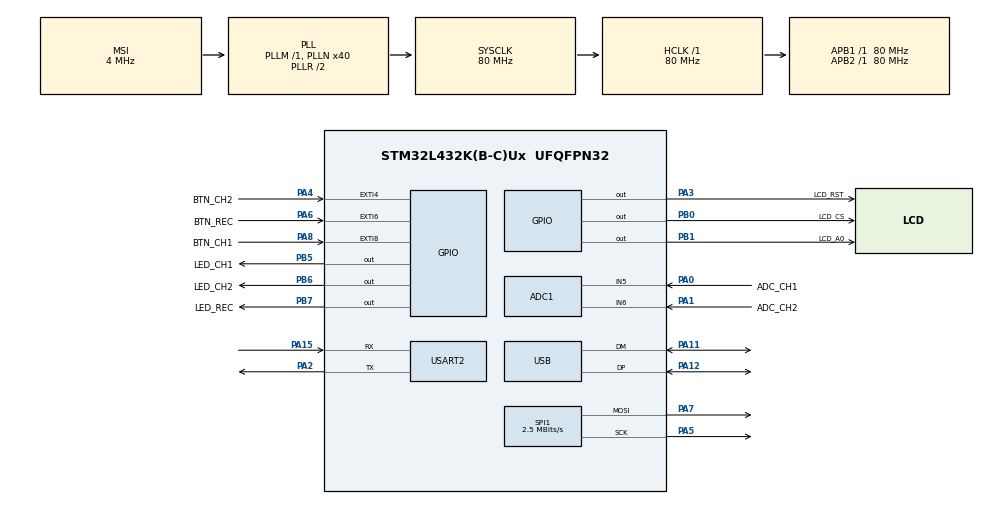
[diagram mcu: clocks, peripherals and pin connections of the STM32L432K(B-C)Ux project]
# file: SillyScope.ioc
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ADC1.Channel-0\#ChannelRegularConversion=ADC_CHANNEL_5
ADC1.Channel-1\#ChannelRegularConversion=ADC_CHANNEL_5
ADC1.DMAContinuousRequests=ENABLE
ADC1.ExternalTrigConv=ADC_EXTERNALTRIG_T2_TRGO
ADC1.NbrOfConversion=2
ADC1.NbrOfConversionFlag=1
ADC1.OffsetNumber-0\#ChannelRegularConversion=ADC_OFFSET_NONE
ADC1.OffsetNumber-1\#ChannelRegularConversion=ADC_OFFSET_NONE
ADC1.Overrun=ADC_OVR_DATA_OVERWRITTEN
ADC1.Rank-0\#ChannelRegularConversion=1
ADC1.Rank-1\#ChannelRegularConversion=2
ADC1.SamplingTime-0\#ChannelRegularConversion=ADC_SAMPLETIME_24CYCLES_5
ADC1.SamplingTime-1\#ChannelRegularConversion=ADC_SAMPLETIME_24CYCLES_5
ADC1.master=1
Dma.ADC1.0.Direction=DMA_PERIPH_TO_MEMORY
Dma.ADC1.0.Instance=DMA1_Channel1
Dma.ADC1.0.MemDataAlignment=DMA_MDATAALIGN_HALFWORD
Dma.ADC1.0.MemInc=DMA_MINC_ENABLE
Dma.ADC1.0.Mode=DMA_CIRCULAR
Dma.ADC1.0.PeriphDataAlignment=DMA_PDATAALIGN_HALFWORD
Dma.ADC1.0.PeriphInc=DMA_PINC_DISABLE
Dma.ADC1.0.Priority=DMA_PRIORITY_HIGH
Dma.Request0=ADC1
Mcu.Family=STM32L4
Mcu.Name=STM32L432K(B-C)Ux
Mcu.Package=UFQFPN32
NVIC.DMA1_Channel1_IRQn=true\:0\:0\:false\:false\:true\:false\:true\:true
NVIC.PriorityGroup=NVIC_PRIORITYGROUP_4
NVIC.USB_IRQn=true\:0\:0\:false\:false\:true\:false\:true\:true
PA0.GPIO_Label=ADC_CH1
PA0.Signal=ADCx_IN5
PA1.GPIO_Label=ADC_CH2
PA1.Signal=ADCx_IN6
PA11.Mode=Device
PA11.Signal=USB_DM
PA12.Mode=Device
PA12.Signal=USB_DP
PA13\ (JTMS-SWDIO).Mode=Serial_Wire
PA13\ (JTMS-SWDIO).Signal=SYS_JTMS-SWDIO
PA14\ (JTCK-SWCLK).Mode=Serial_Wire
PA14\ (JTCK-SWCLK).Signal=SYS_JTCK-SWCLK
PA15\ (JTDI).Mode=Asynchronous
PA15\ (JTDI).Signal=USART2_RX
PA2.Mode=Asynchronous
PA2.Signal=USART2_TX
PA3.GPIO_Label=LCD_RST
PA3.PinState=GPIO_PIN_SET
PA3.Signal=GPIO_Output
PA4.GPIO_Label=BTN_CH2
PA4.GPIO_PuPd=GPIO_PULLUP
PA4.Signal=GPXTI4
PA5.Mode=TX_Only_Simplex_Unidirect_Master
PA5.Signal=SPI1_SCK
PA6.GPIO_Label=BTN_REC
PA6.GPIO_PuPd=GPIO_PULLUP
PA6.Signal=GPXTI6
PA7.Mode=TX_Only_Simplex_Unidirect_Master
PA7.Signal=SPI1_MOSI
PA8.GPIO_Label=BTN_CH1
PA8.GPIO_PuPd=GPIO_PULLUP
PA8.Signal=GPXTI8
PB0.GPIO_Label=LCD_CS
PB0.GPIO_Speed=GPIO_SPEED_FREQ_LOW
PB0.PinState=GPIO_PIN_SET
PB0.Signal=GPIO_Output
PB1.GPIO_Label=LCD_A0
PB1.Signal=GPIO_Output
PB5.GPIO_Label=LED_CH1
PB5.Signal=GPIO_Output
PB6.GPIO_Label=LED_CH2
PB6.Signal=GPIO_Output
PB7.GPIO_Label=LED_REC
PB7.Signal=GPIO_Output
ProjectManager.HeapSize=0x200
ProjectManager.StackSize=0x400
ProjectManager.TargetToolchain=STM32CubeIDE
RCC.ADCFreq_Value=48000000
RCC.AHBFreq_Value=80000000
RCC.APB1Freq_Value=80000000
RCC.APB1TimFreq_Value=80000000
RCC.APB2Freq_Value=80000000
RCC.APB2TimFreq_Value=80000000
RCC.CortexFreq_Value=80000000
RCC.HCLKFreq_Value=80000000
RCC.HSE_VALUE=8000000
RCC.HSI48_VALUE=48000000
RCC.HSI_VALUE=16000000
RCC.LSE_VALUE=32768
RCC.MSI_VALUE=4000000
RCC.PLLN=40
RCC.PLLSAI1N=24
RCC.SYSCLKFreq_VALUE=80000000
RCC.SYSCLKSource=RCC_SYSCLKSOURCE_PLLCLK
RCC.USBFreq_Value=48000000
RCC.VCOOutputFreq_Value=160000000
SH.ADCx_IN5.0=ADC1_IN5,IN5-Single-Ended
SH.ADCx_IN6.0=ADC1_IN6,IN6-Single-Ended
SPI1.BaudRatePrescaler=SPI_BAUDRATEPRESCALER_32
SPI1.CLKPhase=SPI_PHASE_2EDGE
SPI1.CLKPolarity=SPI_POLARITY_HIGH
SPI1.CalculateBaudRate=2.5 MBits/s
SPI1.DataSize=SPI_DATASIZE_8BIT
SPI1.Direction=SPI_DIRECTION_2LINES
SPI1.Mode=SPI_MODE_MASTER
SPI1.VirtualType=VM_MASTER
TIM2.Period=159
TIM2.TIM_MasterOutputTrigger=TIM_TRGO_UPDATE
USART2.VirtualMode-Asynchronous=VM_ASYNC
USB_DEVICE.CLASS_NAME_FS=CDC
USB_DEVICE.VirtualMode=Cdc
USB_DEVICE.VirtualModeFS=Cdc_FS
VP_TIM2_VS_ClockSourceINT.Mode=Internal
VP_USB_DEVICE_VS_USB_DEVICE_CDC_FS.Mode=CDC_FS
board=custom

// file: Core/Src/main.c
/* USER CODE BEGIN Header */
/**
  ******************************************************************************
  * @file           : main.c
  * @brief          : Main program body
  ******************************************************************************
  * @attention
  *
  * Copyright (c) 2026 STMicroelectronics.
  * All rights reserved.
  *
  * This software is licensed under terms that can be found in the LICENSE file
  * in the root directory of this software component.
  * If no LICENSE file comes with this software, it is provided AS-IS.
  *
  ******************************************************************************
  */
/* USER CODE END Header */
#include "main.h"
#include "usb_device.h"

/* USER CODE BEGIN Includes */
#include <stdint.h>
#include <stdbool.h>

#include "sillyscope_app.h"

#include "channel_mgmt.h"
#include "channel_data.h"

/* USER CODE END Includes */

ADC_HandleTypeDef hadc1;
DMA_HandleTypeDef hdma_adc1;

SPI_HandleTypeDef hspi1;

TIM_HandleTypeDef htim2;

UART_HandleTypeDef huart2;

/* USER CODE BEGIN PV */
CRC_HandleTypeDef hcrc;
/* USER CODE END PV */

void SystemClock_Config(void);
void PeriphCommonClock_Config(void);
static void MX_GPIO_Init(void);
static void MX_DMA_Init(void);
static void MX_ADC1_Init(void);
static void MX_SPI1_Init(void);
static void MX_TIM2_Init(void);
static void MX_USART2_UART_Init(void);

int main(void)
{

  /* USER CODE BEGIN 1 */

  ch_data_adc = &hadc1;
  ch_data_crc = &hcrc;
  ch_data_uart = &huart2;
  disp_spi = &hspi1;

  /* USER CODE END 1 */

  /* MCU Configuration--------------------------------------------------------*/

  /* Reset of all peripherals, Initializes the Flash interface and the Systick. */
  HAL_Init();

  /* Configure the system clock */
  SystemClock_Config();

  /* Configure the peripherals common clocks */
  PeriphCommonClock_Config();

  /* Initialize all configured peripherals */
  MX_GPIO_Init();
  MX_DMA_Init();
  MX_ADC1_Init();
  MX_SPI1_Init();
  MX_USB_DEVICE_Init();
  MX_TIM2_Init();
  MX_USART2_UART_Init();

  /* USER CODE BEGIN 2 */
  __HAL_RCC_CRC_CLK_ENABLE();

  hcrc.Instance = CRC;
  hcrc.Init.DefaultPolynomialUse = DEFAULT_POLYNOMIAL_ENABLE;
  hcrc.Init.DefaultInitValueUse = DEFAULT_INIT_VALUE_ENABLE;
  hcrc.Init.InputDataInversionMode = CRC_INPUTDATA_INVERSION_NONE;
  hcrc.Init.OutputDataInversionMode = CRC_OUTPUTDATA_INVERSION_DISABLE;
  hcrc.InputDataFormat = CRC_INPUTDATA_FORMAT_BYTES;

  if (HAL_CRC_Init(&hcrc) != HAL_OK)
  {
    Error_Handler();
  }
  /* USER CODE END 2 */

  /* Infinite loop */
  /* USER CODE BEGIN WHILE */

  sillyscope_app();

  //never reach
  while (1)
  {
    /* USER CODE END WHILE */

  }
}

void SystemClock_Config(void)
{
  RCC_OscInitTypeDef RCC_OscInitStruct = {0};
  RCC_ClkInitTypeDef RCC_ClkInitStruct = {0};

  /** Configure the main internal regulator output voltage
  */
  if (HAL_PWREx_ControlVoltageScaling(PWR_REGULATOR_VOLTAGE_SCALE1) != HAL_OK)
  {
    Error_Handler();
  }

  /** Initializes the RCC Oscillators according to the specified parameters
  * in the RCC_OscInitTypeDef structure.
  */
  RCC_OscInitStruct.OscillatorType = RCC_OSCILLATORTYPE_MSI;
  RCC_OscInitStruct.MSIState = RCC_MSI_ON;
  RCC_OscInitStruct.MSICalibrationValue = 0;
  RCC_OscInitStruct.MSIClockRange = RCC_MSIRANGE_6;
  RCC_OscInitStruct.PLL.PLLState = RCC_PLL_ON;
  RCC_OscInitStruct.PLL.PLLSource = RCC_PLLSOURCE_MSI;
  RCC_OscInitStruct.PLL.PLLM = 1;
  RCC_OscInitStruct.PLL.PLLN = 40;
  RCC_OscInitStruct.PLL.PLLP = RCC_PLLP_DIV7;
  RCC_OscInitStruct.PLL.PLLQ = RCC_PLLQ_DIV2;
  RCC_OscInitStruct.PLL.PLLR = RCC_PLLR_DIV2;
  if (HAL_RCC_OscConfig(&RCC_OscInitStruct) != HAL_OK)
  {
    Error_Handler();
  }

  /** Initializes the CPU, AHB and APB buses clocks
  */
  RCC_ClkInitStruct.ClockType = RCC_CLOCKTYPE_HCLK|RCC_CLOCKTYPE_SYSCLK
                              |RCC_CLOCKTYPE_PCLK1|RCC_CLOCKTYPE_PCLK2;
  RCC_ClkInitStruct.SYSCLKSource = RCC_SYSCLKSOURCE_PLLCLK;
  RCC_ClkInitStruct.AHBCLKDivider = RCC_SYSCLK_DIV1;
  RCC_ClkInitStruct.APB1CLKDivider = RCC_HCLK_DIV1;
  RCC_ClkInitStruct.APB2CLKDivider = RCC_HCLK_DIV1;

  if (HAL_RCC_ClockConfig(&RCC_ClkInitStruct, FLASH_LATENCY_4) != HAL_OK)
  {
    Error_Handler();
  }
}

void PeriphCommonClock_Config(void)
{
  RCC_PeriphCLKInitTypeDef PeriphClkInit = {0};

  /** Initializes the peripherals clock
  */
  PeriphClkInit.PeriphClockSelection = RCC_PERIPHCLK_USB|RCC_PERIPHCLK_ADC;
  PeriphClkInit.AdcClockSelection = RCC_ADCCLKSOURCE_PLLSAI1;
  PeriphClkInit.UsbClockSelection = RCC_USBCLKSOURCE_PLLSAI1;
  PeriphClkInit.PLLSAI1.PLLSAI1Source = RCC_PLLSOURCE_MSI;
  PeriphClkInit.PLLSAI1.PLLSAI1M = 1;
  PeriphClkInit.PLLSAI1.PLLSAI1N = 24;
  PeriphClkInit.PLLSAI1.PLLSAI1P = RCC_PLLP_DIV7;
  PeriphClkInit.PLLSAI1.PLLSAI1Q = RCC_PLLQ_DIV2;
  PeriphClkInit.PLLSAI1.PLLSAI1R = RCC_PLLR_DIV2;
  PeriphClkInit.PLLSAI1.PLLSAI1ClockOut = RCC_PLLSAI1_48M2CLK|RCC_PLLSAI1_ADC1CLK;
  if (HAL_RCCEx_PeriphCLKConfig(&PeriphClkInit) != HAL_OK)
  {
    Error_Handler();
  }
}

static void MX_ADC1_Init(void)
{

  ADC_ChannelConfTypeDef sConfig = {0};

  /** Common config
  */
  hadc1.Instance = ADC1;
  hadc1.Init.ClockPrescaler = ADC_CLOCK_ASYNC_DIV1;
  hadc1.Init.Resolution = ADC_RESOLUTION_12B;
  hadc1.Init.DataAlign = ADC_DATAALIGN_RIGHT;
  hadc1.Init.ScanConvMode = ADC_SCAN_ENABLE;
  hadc1.Init.EOCSelection = ADC_EOC_SINGLE_CONV;
  hadc1.Init.LowPowerAutoWait = DISABLE;
  hadc1.Init.ContinuousConvMode = ENABLE;
  hadc1.Init.NbrOfConversion = 2;
  hadc1.Init.DiscontinuousConvMode = DISABLE;
  hadc1.Init.ExternalTrigConv = ADC_SOFTWARE_START;
  hadc1.Init.ExternalTrigConvEdge = ADC_EXTERNALTRIGCONVEDGE_RISING;
  hadc1.Init.DMAContinuousRequests = ENABLE;
  hadc1.Init.Overrun = ADC_OVR_DATA_OVERWRITTEN;
  hadc1.Init.OversamplingMode = DISABLE;
  if (HAL_ADC_Init(&hadc1) != HAL_OK)
  {
    Error_Handler();
  }

  /** Configure Regular Channel
  */
  sConfig.Channel = ADC_CHANNEL_5;
  sConfig.Rank = ADC_REGULAR_RANK_1;
  sConfig.SamplingTime = ADC_SAMPLETIME_24CYCLES_5;
  sConfig.SingleDiff = ADC_SINGLE_ENDED;
  sConfig.OffsetNumber = ADC_OFFSET_NONE;
  sConfig.Offset = 0;
  if (HAL_ADC_ConfigChannel(&hadc1, &sConfig) != HAL_OK)
  {
    Error_Handler();
  }

  /** Configure Regular Channel
  */
  sConfig.Rank = ADC_REGULAR_RANK_2;
  if (HAL_ADC_ConfigChannel(&hadc1, &sConfig) != HAL_OK)
  {
    Error_Handler();
  }

}

static void MX_SPI1_Init(void)
{

  /* SPI1 parameter configuration*/
  hspi1.Instance = SPI1;
  hspi1.Init.Mode = SPI_MODE_MASTER;
  hspi1.Init.Direction = SPI_DIRECTION_2LINES;
  hspi1.Init.DataSize = SPI_DATASIZE_8BIT;
  hspi1.Init.CLKPolarity = SPI_POLARITY_HIGH;
  hspi1.Init.CLKPhase = SPI_PHASE_2EDGE;
  hspi1.Init.NSS = SPI_NSS_SOFT;
  hspi1.Init.BaudRatePrescaler = SPI_BAUDRATEPRESCALER_32;
  hspi1.Init.FirstBit = SPI_FIRSTBIT_MSB;
  hspi1.Init.TIMode = SPI_TIMODE_DISABLE;
  hspi1.Init.CRCCalculation = SPI_CRCCALCULATION_DISABLE;
  hspi1.Init.CRCPolynomial = 7;
  hspi1.Init.CRCLength = SPI_CRC_LENGTH_DATASIZE;
  hspi1.Init.NSSPMode = SPI_NSS_PULSE_DISABLE;
  if (HAL_SPI_Init(&hspi1) != HAL_OK)
  {
    Error_Handler();
  }

}

static void MX_TIM2_Init(void)
{

  TIM_ClockConfigTypeDef sClockSourceConfig = {0};
  TIM_MasterConfigTypeDef sMasterConfig = {0};

  htim2.Instance = TIM2;
  htim2.Init.Prescaler = 0;
  htim2.Init.CounterMode = TIM_COUNTERMODE_UP;
  htim2.Init.Period = 9599;
  htim2.Init.ClockDivision = TIM_CLOCKDIVISION_DIV1;
  htim2.Init.AutoReloadPreload = TIM_AUTORELOAD_PRELOAD_DISABLE;
  if (HAL_TIM_Base_Init(&htim2) != HAL_OK)
  {
    Error_Handler();
  }
  sClockSourceConfig.ClockSource = TIM_CLOCKSOURCE_INTERNAL;
  if (HAL_TIM_ConfigClockSource(&htim2, &sClockSourceConfig) != HAL_OK)
  {
    Error_Handler();
  }
  sMasterConfig.MasterOutputTrigger = TIM_TRGO_UPDATE;
  sMasterConfig.MasterSlaveMode = TIM_MASTERSLAVEMODE_DISABLE;
  if (HAL_TIMEx_MasterConfigSynchronization(&htim2, &sMasterConfig) != HAL_OK)
  {
    Error_Handler();
  }

}

static void MX_USART2_UART_Init(void)
{

  huart2.Instance = USART2;
  huart2.Init.BaudRate = 115200;
  huart2.Init.WordLength = UART_WORDLENGTH_8B;
  huart2.Init.StopBits = UART_STOPBITS_1;
  huart2.Init.Parity = UART_PARITY_NONE;
  huart2.Init.Mode = UART_MODE_TX_RX;
  huart2.Init.HwFlowCtl = UART_HWCONTROL_NONE;
  huart2.Init.OverSampling = UART_OVERSAMPLING_16;
  huart2.Init.OneBitSampling = UART_ONE_BIT_SAMPLE_DISABLE;
  huart2.AdvancedInit.AdvFeatureInit = UART_ADVFEATURE_NO_INIT;
  if (HAL_UART_Init(&huart2) != HAL_OK)
  {
    Error_Handler();
  }

}

static void MX_DMA_Init(void)
{

  /* DMA controller clock enable */
  __HAL_RCC_DMA1_CLK_ENABLE();

  /* DMA interrupt init */
  /* DMA1_Channel1_IRQn interrupt configuration */
  HAL_NVIC_SetPriority(DMA1_Channel1_IRQn, 0, 0);
  HAL_NVIC_EnableIRQ(DMA1_Channel1_IRQn);

}

static void MX_GPIO_Init(void)
{
  GPIO_InitTypeDef GPIO_InitStruct = {0};

  /* GPIO Ports Clock Enable */
  __HAL_RCC_GPIOA_CLK_ENABLE();
  __HAL_RCC_GPIOB_CLK_ENABLE();

  /*Configure GPIO pin Output Level */
  HAL_GPIO_WritePin(LCD_RST_GPIO_Port, LCD_RST_Pin, GPIO_PIN_SET);

  /*Configure GPIO pin Output Level */
  HAL_GPIO_WritePin(LCD_CS_GPIO_Port, LCD_CS_Pin, GPIO_PIN_SET);

  /*Configure GPIO pin Output Level */
  HAL_GPIO_WritePin(GPIOB, LCD_A0_Pin|LED_CH1_Pin|LED_CH2_Pin|LED_REC_Pin, GPIO_PIN_RESET);

  /*Configure GPIO pin : LCD_RST_Pin */
  GPIO_InitStruct.Pin = LCD_RST_Pin;
  GPIO_InitStruct.Mode = GPIO_MODE_OUTPUT_PP;
  GPIO_InitStruct.Pull = GPIO_NOPULL;
  GPIO_InitStruct.Speed = GPIO_SPEED_FREQ_LOW;
  HAL_GPIO_Init(LCD_RST_GPIO_Port, &GPIO_InitStruct);

  /*Configure GPIO pins : BTN_CH2_Pin BTN_REC_Pin BTN_CH1_Pin */
  GPIO_InitStruct.Pin = BTN_CH2_Pin|BTN_REC_Pin|BTN_CH1_Pin;
  GPIO_InitStruct.Mode = GPIO_MODE_IT_RISING;
  GPIO_InitStruct.Pull = GPIO_PULLUP;
  HAL_GPIO_Init(GPIOA, &GPIO_InitStruct);

  /*Configure GPIO pins : LCD_CS_Pin LCD_A0_Pin LED_CH1_Pin LED_CH2_Pin
                           LED_REC_Pin */
  GPIO_InitStruct.Pin = LCD_CS_Pin|LCD_A0_Pin|LED_CH1_Pin|LED_CH2_Pin
                          |LED_REC_Pin;
  GPIO_InitStruct.Mode = GPIO_MODE_OUTPUT_PP;
  GPIO_InitStruct.Pull = GPIO_NOPULL;
  GPIO_InitStruct.Speed = GPIO_SPEED_FREQ_LOW;
  HAL_GPIO_Init(GPIOB, &GPIO_InitStruct);

}

void Error_Handler(void)
{
  __disable_irq();
  while (1)
  {
  }
}
